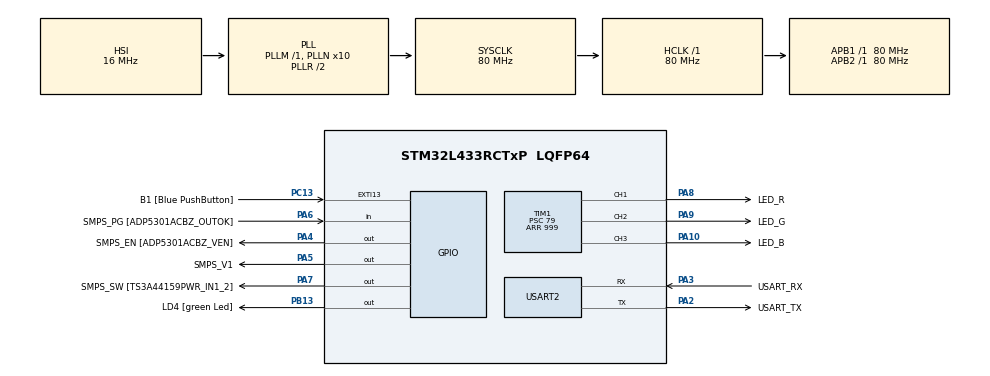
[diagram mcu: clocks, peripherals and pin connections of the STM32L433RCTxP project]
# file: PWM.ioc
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Mcu.Family=STM32L4
Mcu.Name=STM32L433RCTxP
Mcu.Package=LQFP64
NVIC.PriorityGroup=NVIC_PRIORITYGROUP_4
NVIC.TIM1_UP_TIM16_IRQn=true\:0\:0\:false\:false\:true\:true\:true\:true
PA10.GPIO_Label=LED_B
PA10.Signal=S_TIM1_CH3
PA13\ (JTMS-SWDIO).GPIO_Label=TMS
PA13\ (JTMS-SWDIO).Mode=Serial_Wire
PA13\ (JTMS-SWDIO).Signal=SYS_JTMS-SWDIO
PA14\ (JTCK-SWCLK).GPIO_Label=TCK
PA14\ (JTCK-SWCLK).Mode=Serial_Wire
PA14\ (JTCK-SWCLK).Signal=SYS_JTCK-SWCLK
PA2.GPIO_Label=USART_TX
PA2.GPIO_Mode=GPIO_MODE_AF_PP
PA2.GPIO_PuPd=GPIO_NOPULL
PA2.GPIO_Speed=GPIO_SPEED_FREQ_VERY_HIGH
PA2.Mode=Asynchronous
PA2.Signal=USART2_TX
PA3.GPIO_Label=USART_RX
PA3.GPIO_Mode=GPIO_MODE_AF_PP
PA3.GPIO_PuPd=GPIO_NOPULL
PA3.GPIO_Speed=GPIO_SPEED_FREQ_VERY_HIGH
PA3.Mode=Asynchronous
PA3.Signal=USART2_RX
PA4.GPIO_Label=SMPS_EN [ADP5301ACBZ_VEN]
PA4.Signal=GPIO_Output
PA5.GPIO_Label=SMPS_V1
PA5.GPIO_ModeDefaultOutputPP=GPIO_MODE_OUTPUT_PP
PA5.GPIO_PuPd=GPIO_NOPULL
PA5.GPIO_Speed=GPIO_SPEED_FREQ_LOW
PA5.Signal=GPIO_Output
PA6.GPIO_Label=SMPS_PG [ADP5301ACBZ_OUTOK]
PA6.GPIO_PuPd=GPIO_PULLUP
PA6.Signal=GPIO_Input
PA7.GPIO_Label=SMPS_SW [TS3A44159PWR_IN1_2]
PA7.Signal=GPIO_Output
PA8.GPIO_Label=LED_R
PA8.Signal=S_TIM1_CH1
PA9.GPIO_Label=LED_G
PA9.Signal=S_TIM1_CH2
PB13.GPIO_Label=LD4 [green Led]
PB13.Signal=GPIO_Output
PB3\ (JTDO-TRACESWO).GPIO_Label=SWO
PB3\ (JTDO-TRACESWO).Signal=SYS_JTDO-SWO
PC13.GPIO_Label=B1 [Blue PushButton]
PC13.GPIO_ModeDefaultEXTI=GPIO_MODE_IT_FALLING
PC13.GPIO_PuPd=GPIO_NOPULL
PC13.Signal=GPXTI13
PC14-OSC32_IN\ (PC14).Mode=LSE-External-Oscillator
PC14-OSC32_IN\ (PC14).Signal=RCC_OSC32_IN
PC15-OSC32_OUT\ (PC15).Mode=LSE-External-Oscillator
PC15-OSC32_OUT\ (PC15).Signal=RCC_OSC32_OUT
PH0-OSC_IN\ (PH0).GPIO_Label=MCO
PH0-OSC_IN\ (PH0).Mode=HSE-External-Clock-Source
PH0-OSC_IN\ (PH0).Signal=RCC_OSC_IN
PH1-OSC_OUT\ (PH1).Signal=RCC_OSC_OUT
ProjectManager.HeapSize=0x200
ProjectManager.StackSize=0x400
ProjectManager.TargetToolchain=STM32CubeIDE
RCC.ADCFreq_Value=64000000
RCC.AHBFreq_Value=80000000
RCC.APB1Freq_Value=80000000
RCC.APB1TimFreq_Value=80000000
RCC.APB2Freq_Value=80000000
RCC.APB2TimFreq_Value=80000000
RCC.CortexFreq_Value=80000000
RCC.HCLKFreq_Value=80000000
RCC.HSE_VALUE=8000000
RCC.HSI48_VALUE=48000000
RCC.HSI_VALUE=16000000
RCC.MSI_VALUE=4000000
RCC.PLLN=10
RCC.PLLSourceVirtual=RCC_PLLSOURCE_HSI
RCC.PREFETCH_ENABLE=1
RCC.SYSCLKFreq_VALUE=80000000
RCC.SYSCLKSource=RCC_SYSCLKSOURCE_PLLCLK
RCC.USBFreq_Value=64000000
RCC.VCOOutputFreq_Value=160000000
SH.S_TIM1_CH1.0=TIM1_CH1,PWM Generation1 CH1
SH.S_TIM1_CH2.0=TIM1_CH2,PWM Generation2 CH2
SH.S_TIM1_CH3.0=TIM1_CH3,PWM Generation3 CH3
TIM1.Channel-PWM\ Generation1\ CH1=TIM_CHANNEL_1
TIM1.Channel-PWM\ Generation2\ CH2=TIM_CHANNEL_2
TIM1.Channel-PWM\ Generation3\ CH3=TIM_CHANNEL_3
TIM1.Period=999
TIM1.Prescaler=79
USART2.VirtualMode-Asynchronous=VM_ASYNC
VP_TIM1_VS_ClockSourceINT.Mode=Internal
board=NUCLEO-L433RC-P

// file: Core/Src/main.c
/* USER CODE BEGIN Header */
/**
  ******************************************************************************
  * @file           : main.c
  * @brief          : Main program body
  ******************************************************************************
  * @attention
  *
  * Copyright (c) 2026 STMicroelectronics.
  * All rights reserved.
  *
  * This software is licensed under terms that can be found in the LICENSE file
  * in the root directory of this software component.
  * If no LICENSE file comes with this software, it is provided AS-IS.
  *
  ******************************************************************************
  */
/* USER CODE END Header */
#include "main.h"

/* USER CODE BEGIN Includes */

#include <math.h>

/* USER CODE END Includes */

TIM_HandleTypeDef htim1;

UART_HandleTypeDef huart2;

void SystemClock_Config(void);
static void MX_GPIO_Init(void);
static void MX_USART2_UART_Init(void);
static void MX_TIM1_Init(void);

/* USER CODE BEGIN 0 */

volatile uint32_t isr_count = 0;

float rf = 0.0f;
float gf = 0.0f;
float bf = 0.0f;

float freq = 0.2f;

/* USER CODE END 0 */

int main(void)
{

  /* MCU Configuration--------------------------------------------------------*/

  /* Reset of all peripherals, Initializes the Flash interface and the Systick. */
  HAL_Init();

  /* Configure the system clock */
  SystemClock_Config();

  /* Initialize all configured peripherals */
  MX_GPIO_Init();
  MX_USART2_UART_Init();
  MX_TIM1_Init();
  /* USER CODE BEGIN 2 */

  HAL_TIM_PWM_Start(&htim1, TIM_CHANNEL_1);
  HAL_TIM_PWM_Start(&htim1, TIM_CHANNEL_2);
  HAL_TIM_PWM_Start(&htim1, TIM_CHANNEL_3);

  HAL_TIM_Base_Start_IT(&htim1);

  uint32_t last_isr_count = 0;

  /* USER CODE END 2 */

  /* Infinite loop */
  /* USER CODE BEGIN WHILE */
  while (1)
  {

	  static float t = 0.0f;
	  const float offset = M_TWOPI / 3.0f;
	  const float half_arr = 500.0f;

	  if(isr_count != last_isr_count)
	  {
		  last_isr_count = isr_count;

		  rf = sinf((M_TWOPI * t * freq) + (0 * offset));
		  gf = sinf((M_TWOPI * t * freq) + (1 * offset));
		  bf = sinf((M_TWOPI * t * freq) + (2 * offset));

		  rf = (rf + 1.0f) * half_arr;
		  gf = (gf + 1.0f) * half_arr;
		  bf = (bf + 1.0f) * half_arr;

		  t += 0.001f;

		  __HAL_TIM_SET_COMPARE(&htim1, TIM_CHANNEL_1, (uint32_t)(rf*1.0f));
		  __HAL_TIM_SET_COMPARE(&htim1, TIM_CHANNEL_2, (uint32_t)(gf*0.5f));
		  __HAL_TIM_SET_COMPARE(&htim1, TIM_CHANNEL_3, (uint32_t)(bf*0.67f));
	  }

    /* USER CODE END WHILE */

  }
}

void SystemClock_Config(void)
{
  RCC_OscInitTypeDef RCC_OscInitStruct = {0};
  RCC_ClkInitTypeDef RCC_ClkInitStruct = {0};

  /** Configure the main internal regulator output voltage
  */
  if (HAL_PWREx_ControlVoltageScaling(PWR_REGULATOR_VOLTAGE_SCALE1) != HAL_OK)
  {
    Error_Handler();
  }

  /** Initializes the RCC Oscillators according to the specified parameters
  * in the RCC_OscInitTypeDef structure.
  */
  RCC_OscInitStruct.OscillatorType = RCC_OSCILLATORTYPE_HSI;
  RCC_OscInitStruct.HSIState = RCC_HSI_ON;
  RCC_OscInitStruct.HSICalibrationValue = RCC_HSICALIBRATION_DEFAULT;
  RCC_OscInitStruct.PLL.PLLState = RCC_PLL_ON;
  RCC_OscInitStruct.PLL.PLLSource = RCC_PLLSOURCE_HSI;
  RCC_OscInitStruct.PLL.PLLM = 1;
  RCC_OscInitStruct.PLL.PLLN = 10;
  RCC_OscInitStruct.PLL.PLLP = RCC_PLLP_DIV7;
  RCC_OscInitStruct.PLL.PLLQ = RCC_PLLQ_DIV2;
  RCC_OscInitStruct.PLL.PLLR = RCC_PLLR_DIV2;
  if (HAL_RCC_OscConfig(&RCC_OscInitStruct) != HAL_OK)
  {
    Error_Handler();
  }

  /** Initializes the CPU, AHB and APB buses clocks
  */
  RCC_ClkInitStruct.ClockType = RCC_CLOCKTYPE_HCLK|RCC_CLOCKTYPE_SYSCLK
                              |RCC_CLOCKTYPE_PCLK1|RCC_CLOCKTYPE_PCLK2;
  RCC_ClkInitStruct.SYSCLKSource = RCC_SYSCLKSOURCE_PLLCLK;
  RCC_ClkInitStruct.AHBCLKDivider = RCC_SYSCLK_DIV1;
  RCC_ClkInitStruct.APB1CLKDivider = RCC_HCLK_DIV1;
  RCC_ClkInitStruct.APB2CLKDivider = RCC_HCLK_DIV1;

  if (HAL_RCC_ClockConfig(&RCC_ClkInitStruct, FLASH_LATENCY_4) != HAL_OK)
  {
    Error_Handler();
  }
}

static void MX_TIM1_Init(void)
{

  TIM_ClockConfigTypeDef sClockSourceConfig = {0};
  TIM_MasterConfigTypeDef sMasterConfig = {0};
  TIM_OC_InitTypeDef sConfigOC = {0};
  TIM_BreakDeadTimeConfigTypeDef sBreakDeadTimeConfig = {0};

  htim1.Instance = TIM1;
  htim1.Init.Prescaler = 79;
  htim1.Init.CounterMode = TIM_COUNTERMODE_UP;
  htim1.Init.Period = 999;
  htim1.Init.ClockDivision = TIM_CLOCKDIVISION_DIV1;
  htim1.Init.RepetitionCounter = 0;
  htim1.Init.AutoReloadPreload = TIM_AUTORELOAD_PRELOAD_DISABLE;
  if (HAL_TIM_Base_Init(&htim1) != HAL_OK)
  {
    Error_Handler();
  }
  sClockSourceConfig.ClockSource = TIM_CLOCKSOURCE_INTERNAL;
  if (HAL_TIM_ConfigClockSource(&htim1, &sClockSourceConfig) != HAL_OK)
  {
    Error_Handler();
  }
  if (HAL_TIM_PWM_Init(&htim1) != HAL_OK)
  {
    Error_Handler();
  }
  sMasterConfig.MasterOutputTrigger = TIM_TRGO_RESET;
  sMasterConfig.MasterOutputTrigger2 = TIM_TRGO2_RESET;
  sMasterConfig.MasterSlaveMode = TIM_MASTERSLAVEMODE_DISABLE;
  if (HAL_TIMEx_MasterConfigSynchronization(&htim1, &sMasterConfig) != HAL_OK)
  {
    Error_Handler();
  }
  sConfigOC.OCMode = TIM_OCMODE_PWM1;
  sConfigOC.Pulse = 0;
  sConfigOC.OCPolarity = TIM_OCPOLARITY_HIGH;
  sConfigOC.OCNPolarity = TIM_OCNPOLARITY_HIGH;
  sConfigOC.OCFastMode = TIM_OCFAST_DISABLE;
  sConfigOC.OCIdleState = TIM_OCIDLESTATE_RESET;
  sConfigOC.OCNIdleState = TIM_OCNIDLESTATE_RESET;
  if (HAL_TIM_PWM_ConfigChannel(&htim1, &sConfigOC, TIM_CHANNEL_1) != HAL_OK)
  {
    Error_Handler();
  }
  if (HAL_TIM_PWM_ConfigChannel(&htim1, &sConfigOC, TIM_CHANNEL_2) != HAL_OK)
  {
    Error_Handler();
  }
  if (HAL_TIM_PWM_ConfigChannel(&htim1, &sConfigOC, TIM_CHANNEL_3) != HAL_OK)
  {
    Error_Handler();
  }
  sBreakDeadTimeConfig.OffStateRunMode = TIM_OSSR_DISABLE;
  sBreakDeadTimeConfig.OffStateIDLEMode = TIM_OSSI_DISABLE;
  sBreakDeadTimeConfig.LockLevel = TIM_LOCKLEVEL_OFF;
  sBreakDeadTimeConfig.DeadTime = 0;
  sBreakDeadTimeConfig.BreakState = TIM_BREAK_DISABLE;
  sBreakDeadTimeConfig.BreakPolarity = TIM_BREAKPOLARITY_HIGH;
  sBreakDeadTimeConfig.BreakFilter = 0;
  sBreakDeadTimeConfig.Break2State = TIM_BREAK2_DISABLE;
  sBreakDeadTimeConfig.Break2Polarity = TIM_BREAK2POLARITY_HIGH;
  sBreakDeadTimeConfig.Break2Filter = 0;
  sBreakDeadTimeConfig.AutomaticOutput = TIM_AUTOMATICOUTPUT_DISABLE;
  if (HAL_TIMEx_ConfigBreakDeadTime(&htim1, &sBreakDeadTimeConfig) != HAL_OK)
  {
    Error_Handler();
  }
  HAL_TIM_MspPostInit(&htim1);

}

static void MX_USART2_UART_Init(void)
{

  huart2.Instance = USART2;
  huart2.Init.BaudRate = 115200;
  huart2.Init.WordLength = UART_WORDLENGTH_8B;
  huart2.Init.StopBits = UART_STOPBITS_1;
  huart2.Init.Parity = UART_PARITY_NONE;
  huart2.Init.Mode = UART_MODE_TX_RX;
  huart2.Init.HwFlowCtl = UART_HWCONTROL_NONE;
  huart2.Init.OverSampling = UART_OVERSAMPLING_16;
  huart2.Init.OneBitSampling = UART_ONE_BIT_SAMPLE_DISABLE;
  huart2.AdvancedInit.AdvFeatureInit = UART_ADVFEATURE_NO_INIT;
  if (HAL_UART_Init(&huart2) != HAL_OK)
  {
    Error_Handler();
  }

}

static void MX_GPIO_Init(void)
{
  GPIO_InitTypeDef GPIO_InitStruct = {0};

  /* GPIO Ports Clock Enable */
  __HAL_RCC_GPIOC_CLK_ENABLE();
  __HAL_RCC_GPIOH_CLK_ENABLE();
  __HAL_RCC_GPIOA_CLK_ENABLE();
  __HAL_RCC_GPIOB_CLK_ENABLE();

  /*Configure GPIO pin Output Level */
  HAL_GPIO_WritePin(GPIOA, SMPS_EN_Pin|SMPS_V1_Pin|SMPS_SW_Pin, GPIO_PIN_RESET);

  /*Configure GPIO pin Output Level */
  HAL_GPIO_WritePin(LD4_GPIO_Port, LD4_Pin, GPIO_PIN_RESET);

  /*Configure GPIO pin : B1_Pin */
  GPIO_InitStruct.Pin = B1_Pin;
  GPIO_InitStruct.Mode = GPIO_MODE_IT_FALLING;
  GPIO_InitStruct.Pull = GPIO_NOPULL;
  HAL_GPIO_Init(B1_GPIO_Port, &GPIO_InitStruct);

  /*Configure GPIO pins : SMPS_EN_Pin SMPS_V1_Pin SMPS_SW_Pin */
  GPIO_InitStruct.Pin = SMPS_EN_Pin|SMPS_V1_Pin|SMPS_SW_Pin;
  GPIO_InitStruct.Mode = GPIO_MODE_OUTPUT_PP;
  GPIO_InitStruct.Pull = GPIO_NOPULL;
  GPIO_InitStruct.Speed = GPIO_SPEED_FREQ_LOW;
  HAL_GPIO_Init(GPIOA, &GPIO_InitStruct);

  /*Configure GPIO pin : SMPS_PG_Pin */
  GPIO_InitStruct.Pin = SMPS_PG_Pin;
  GPIO_InitStruct.Mode = GPIO_MODE_INPUT;
  GPIO_InitStruct.Pull = GPIO_PULLUP;
  HAL_GPIO_Init(SMPS_PG_GPIO_Port, &GPIO_InitStruct);

  /*Configure GPIO pin : LD4_Pin */
  GPIO_InitStruct.Pin = LD4_Pin;
  GPIO_InitStruct.Mode = GPIO_MODE_OUTPUT_PP;
  GPIO_InitStruct.Pull = GPIO_NOPULL;
  GPIO_InitStruct.Speed = GPIO_SPEED_FREQ_LOW;
  HAL_GPIO_Init(LD4_GPIO_Port, &GPIO_InitStruct);

}

/* USER CODE BEGIN 4 */

void HAL_TIM_PeriodElapsedCallback(TIM_HandleTypeDef *htim)
{
	if(htim->Instance == TIM1)
	{
		isr_count++;
	}
}

/* USER CODE END 4 */

void Error_Handler(void)
{
  __disable_irq();
  while (1)
  {
  }
}
